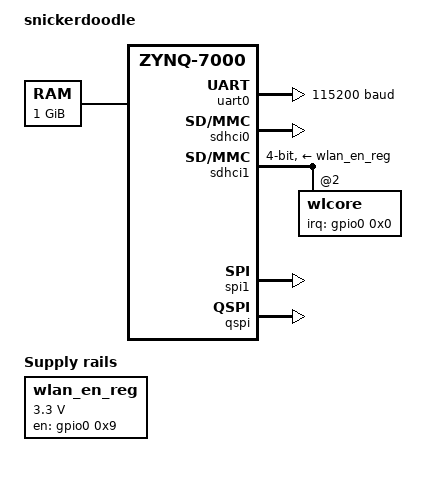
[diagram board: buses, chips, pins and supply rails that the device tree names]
/*
 * snickerdoodle board DTS
 *
 * Copyright (c) 2016 krtkl inc.
 *
 * SPDX-License-Identifier:     GPL-2.0+
 */


/dts-v1/;
/include/ "zynq-7000.dtsi"
/ {
        model = "snickerdoodle";
        compatible = "xlnx,zynq-snickerdoodle", "xlnx,zynq-7000";

	cpus {
		cpu@0 {
			operating-points = <0xA2C2B 0xF4240 0x51616 0xF4240>; /* <666666 1000000 333333 1000000> */
		};
	};

	chosen {
                bootargs = "console=ttyPS0,115200n8 root=/dev/mmcblk0p2 rw rootwait earlyprintk";
                linux,stdout-path = &uart0;
                stdout-path = &uart0;
        };

	aliases {
		serial0 = &uart0;
		spi0 = &qspi;
		mmc0 = &sdhci0;
		mmc1 = &sdhci1;
	};

	memory {
		device_type = "memory";
		reg = <0x0 0x40000000>;
	};

	wlan_en_reg: fixedregulator@1 {
                compatible = "regulator-fixed";
                regulator-name = "wlan-en-regulator";
                regulator-min-microvolt = <0x325aa0>;		/* Specified as 3.3V for driver, actually 1.8V */
                regulator-max-microvolt = <0x325aa0>;
                gpio = <&gpio0 0x9 0x4>;			/* WLAN_EN GPIO 9 on B5 */
                startup-delay-us = <0x11170>;
                enable-active-high;
                linux,phandle = <0x6>;
                phandle = <0x6>;
        };

};

&intc {
	num_cpus = <2>;
	num_interrupts = <96>;
};

&clkc {
	fclk-enable = <0x1>;
	ps-clk-frequency = <33333333>;
};

&gpio0 {
        interrupt-controller;
        #interrupt-cells = <0x2>;
        emio-gpio-width = <0x40>;
        gpio-mask-high = <0x0>;
        gpio-mask-low = <0x5600>;
        xlnx,emio-gpio-width = <0x40>;
        xlnx,mio-gpio-mask = <0x5600>;
        linux,phandle = <0x4>;
        phandle = <0x4>;
};

&uart0 {
	u-boot,dm-pre-reloc;
	status = "okay";
	interrupt-parent = <&intc>;
	xlnx,has-modem = <0x0>;
	current-speed = <0x1c200>;				/* 115200 */
	device_type = "serial";
	port-number = <0x0>;
};

&sdhci0 {
	u-boot,dm-pre-reloc;
        status = "okay";
};

&sdhci1 {
	u-boot,dm-pre-reloc;
        status = "okay";
        vmmc-supply = <&wlan_en_reg>;
	bus-width = <0x4>;
        cap-power-off-card;
	keep-power-in-suspend;

	#address-cells = <0x1>;
	#size-cells = <0x0>;
        wlcore: wlcore@0 {
                compatible = "wlcore", "ti,wl1831", "ti,wl1837";
		reg = <2>;
                interrupt-parent = <&gpio0>;
		interrupts = <0x0 0x4>;
        };
};

&spi1 {
        u-boot,dm-pre-reloc;
        status = "okay";
};

&qspi {
        u-boot,dm-pre-reloc;
        status = "okay";
};

&devcfg {
	syscon = <&slcr>;
};

&amba {
        axi_gpio_0: gpio@41200000 {
                compatible = "xlnx,xps-gpio-1.00.a";
                gpio-controller;
                #gpio-cells = <0x2>;
                interrupt-parent = <&intc>;
                reg = <0x41200000 0x10000>;
                xlnx,is-dual = <0x1>;
                xlnx,all-inputs = <0x0>;
                xlnx,tri-default = <0xFFFFFFFF>;
                xlnx,gpio-width= <0x19>;
                xlnx,all-inputs-2 = <0x0>;
                xlnx,tri-default-2 = <0xFFFFFFFF>;
                xlnx,gpio-width-2 = <0x19>;
        };

        axi_gpio_1: gpio@41210000 {
                compatible = "xlnx,xps-gpio-1.00.a";
                gpio-controller;
                #gpio-cells = <0x2>;
                interrupt-parent = <&intc>;
                reg = <0x41210000 0x10000>;
                xlnx,is-dual = <0x1>;
                xlnx,all-inputs = <0x0>;
                xlnx,tri-default = <0xFFFFFFFF>;
                xlnx,gpio-width= <0x19>;
                xlnx,all-inputs-2 = <0x0>;
                xlnx,tri-default-2 = <0xFFFFFFFF>;
                xlnx,gpio-width-2 = <0x19>;
        };
};
